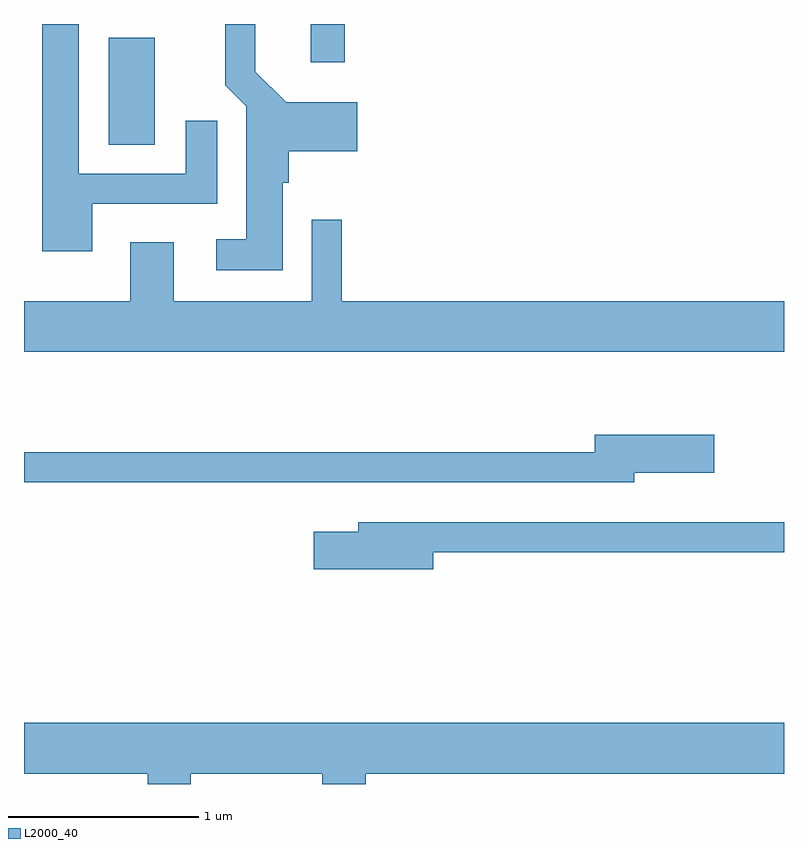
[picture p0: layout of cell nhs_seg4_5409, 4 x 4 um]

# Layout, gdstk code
import gdstk
lib = gdstk.Library(unit=1e-6, precision=1e-09)
def R(c, l, rs):  # rectangles x0, y0, x1, y1
    for r in rs: c.add(gdstk.rectangle(r[:2], r[2:], *l))
def P(c, l, *ps):  # polygons
    for p in ps: c.add(gdstk.Polygon(p, *l))
L2000_40 = (2000, 40)

nhs_seg4_5409 = lib.new_cell('nhs_seg4_5409')
R(nhs_seg4_5409, L2000_40, [(344.056,1331.346,344.299,1331.909), (345.121,1331.781,345.299,1331.982)])
P(nhs_seg4_5409, L2000_40, [(343.969,1331.036),(344.629,1331.036),(344.629,1331.473),(344.461,1331.473),(344.461,1331.194),(343.899,1331.194),(343.899,1331.982),(343.706,1331.982),(343.706,1330.786),(343.969,1330.786)],
  [(344.974,1331.146),(345.004,1331.146),(345.004,1331.311),(345.364,1331.311),(345.364,1331.569),(344.992,1331.569),(344.829,1331.732),(344.829,1331.982),(344.671,1331.982),(344.671,1331.659),(344.781,1331.549),(344.781,1330.849),(344.623,1330.849),(344.623,1330.686),(344.974,1330.686)],
  [(347.611,1330.524),(345.284,1330.524),(345.284,1330.953),(345.126,1330.953),(345.126,1330.524),(344.399,1330.524),(344.399,1330.834),(344.171,1330.834),(344.171,1330.524),(343.611,1330.524),(343.611,1330.256),(347.611,1330.256)],
  [(346.824,1329.621),(347.244,1329.621),(347.244,1329.819),(346.616,1329.819),(346.616,1329.729),(343.611,1329.729),(343.611,1329.571),(346.824,1329.571)],
  [(345.764,1329.201),(347.611,1329.201),(347.611,1329.359),(345.371,1329.359),(345.371,1329.309),(345.136,1329.309),(345.136,1329.111),(345.764,1329.111)],
  [(344.489,1328.036),(345.181,1328.036),(345.181,1327.982),(345.409,1327.982),(345.409,1328.036),(347.611,1328.036),(347.611,1328.304),(343.611,1328.304),(343.611,1328.036),(344.261,1328.036),(344.261,1327.982),(344.489,1327.982)])

lib.write_gds('nhs_seg4_5409.gds')
